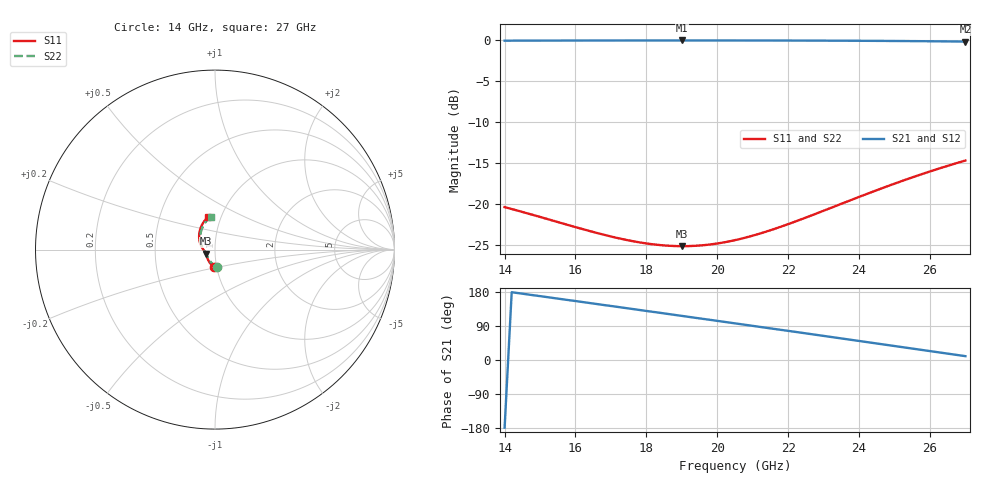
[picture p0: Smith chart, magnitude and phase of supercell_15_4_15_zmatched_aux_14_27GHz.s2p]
! Touchstone file exported from HFSS 2026.1.0
!  Generated:  01:56:15 PM Aug 24, 2026
!  Design:  HFSSDesign_Supercell_15_4_15_stub_length
!  Project:  15-4-15_super_cell_cascade_validation
!  Setup:  Setup1
!  Solution:  Sweep_15_4_15_aux
! Variables:
!  stub_length = 8.34um
# GHz S MA R 50.000000
! Terminal data exported
! Port[1] = Port1
! Port[2] = Port2
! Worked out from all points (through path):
!   66 points, 14 GHz to 27 GHz, reference 50 ohm
!   highest |S21| = -0.01 dB at 19 GHz (marker M1); lowest = -0.2 dB at 27 GHz (marker M2)
!   group delay of S21, straight-line fit = 36.6 ps
!   lowest |S11| = -25.1 dB at 19 GHz (marker M3), VSWR 1.12, Z = 45.1 - j2.02 ohm
!   |S11| at or under -10 dB: start of sweep to end of sweep
!   |S22| runs from -25.1 to -14.7 dB; largest |S21 - S12| = 0.00071
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14  0.0961 -92.5  0.9954 -178.5  0.9953 -178.5  0.0961 -84.6
! Gamma 5.26102132402714E-22 12285.2509625916 0 12297.0879650373
! Port Impedance 50 0 50 0
14.4  0.09108 -98.0  0.9962 176.3  0.9955 176.3  0.09108 -89.4
15  0.08374 -105.8  0.9965 168.5  0.9965 168.5  0.08374 -97.2
15.6  0.07684 -113.7  0.997 160.7  0.997 160.7  0.07684 -104.8
16.2  0.0706 -121.6  0.9975 153.0  0.9975 153.0  0.0706 -112.5
17.2  0.06217 -134.4  0.9981 139.9  0.9981 139.9  0.06217 -125.7
17.8  0.0586 -141.9  0.9983 132.1  0.9983 132.1  0.0586 -133.9
18.4  0.05635 -149.2  0.9984 124.3  0.9984 124.3  0.05635 -142.3
19  0.05554 -156.3  0.9985 116.4  0.9985 116.4  0.05554 -150.9
19.8  0.05688 -165.6  0.9984 105.9  0.9984 105.9  0.05688 -162.6
20.6  0.06113 -174.9  0.9981 95.4  0.9981 95.4  0.06113 -174.4
21.2  0.06627 178.0  0.9978 87.4  0.9978 87.4  0.06627 176.9
21.6  0.07062 173.2  0.9975 82.2  0.9975 82.2  0.07062 171.1
22.2  0.07848 165.9  0.9969 74.2  0.9969 74.2  0.07848 162.6
22.8  0.08789 158.3  0.9961 66.2  0.9961 66.2  0.08789 154.1
23.8  0.1067 145.5  0.9943 52.9  0.9943 52.9  0.1067 140.4
24.4  0.1196 137.6  0.9928 44.9  0.9928 44.9  0.1196 132.2
25  0.1336 129.6  0.991 36.9  0.991 36.9  0.1336 124.2
25.6  0.1484 121.6  0.989 28.8  0.9889 28.8  0.1484 116.1
26  0.1586 116.1  0.9872 23.5  0.9874 23.5  0.1586 110.8
26.6  0.1742 108.0  0.9846 15.4  0.9848 15.4  0.1742 102.9
27  0.1849 102.6  0.9827 10.1  0.9828 10.1  0.1849 97.5
